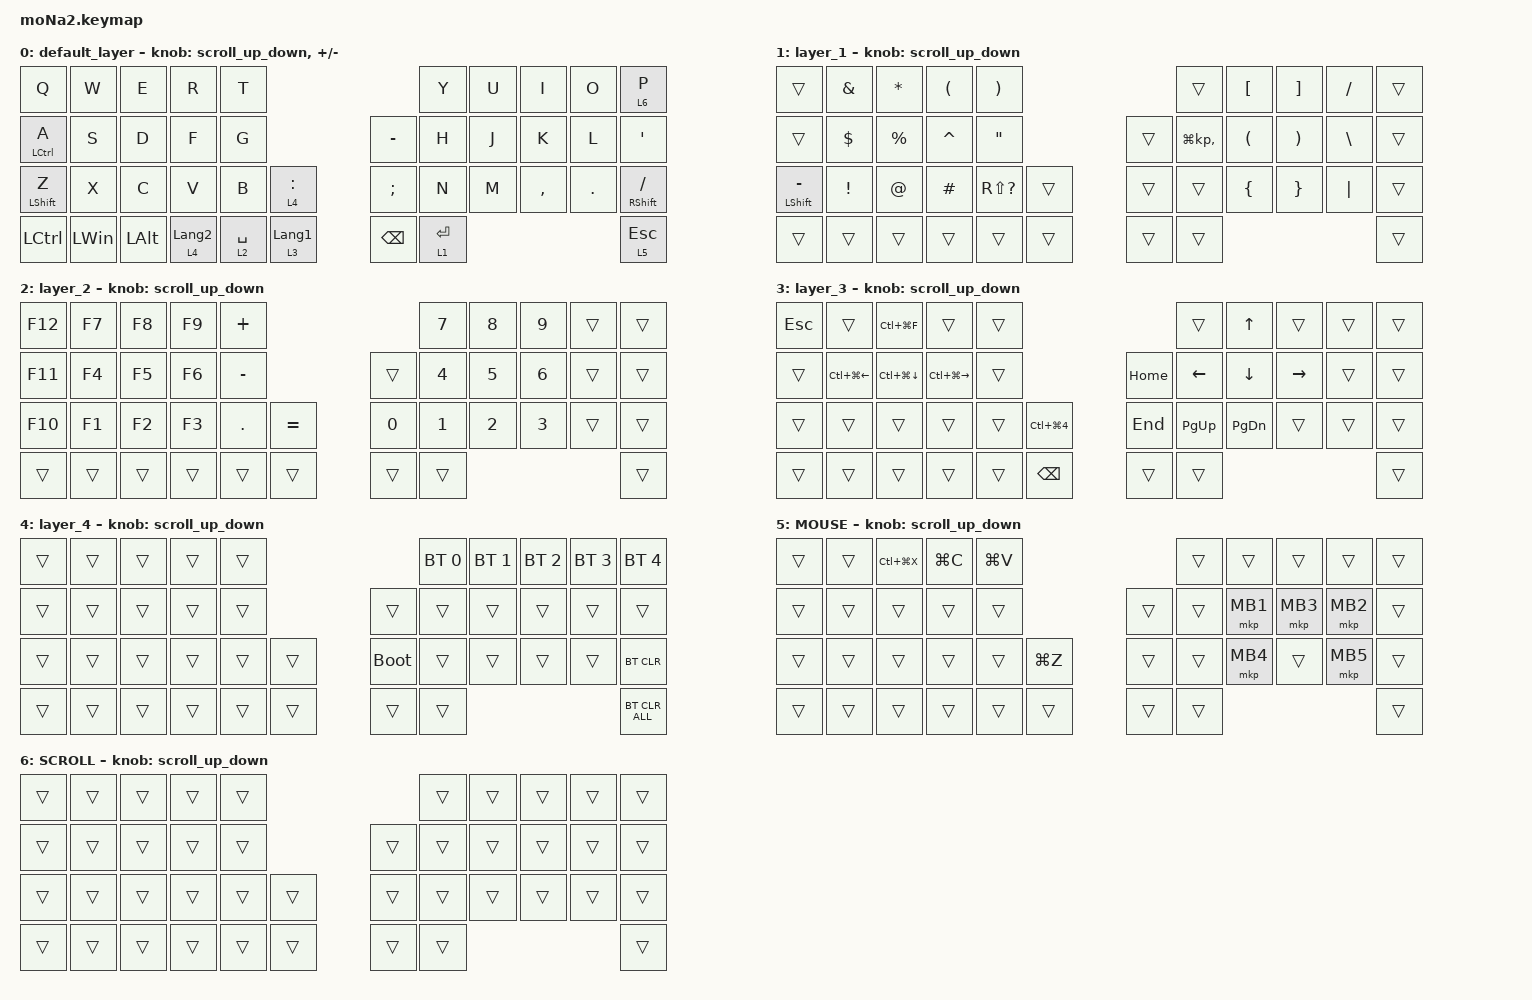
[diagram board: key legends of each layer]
#include <behaviors.dtsi>
#include <dt-bindings/zmk/bt.h>
#include <dt-bindings/zmk/keys.h>
#include <dt-bindings/zmk/pointing.h>

#define ZMK_POINTING_DEFAULT_SCRL_VAL 100
#define MOUSE 5
#define SCROLL 6

&mt {
    flavor = "balanced";
    quick-tap-ms = <0>;
};

/ {
    combos { compatible = "zmk,combos"; };

    macros {
        to_layer_0: to_layer_0 {
            compatible = "zmk,behavior-macro-one-param";
            #binding-cells = <1>;
            bindings = <&to 0 &macro_param_1to1 &kp MACRO_PLACEHOLDER>;
            label = "TO_LAYER_0";
        };
    };

    behaviors {
        lt_to_layer_0: lt_to_layer_0 {
            compatible = "zmk,behavior-hold-tap";
            label = "LAYER_TAP_TO_0";
            bindings = <&mo>, <&to_layer_0>;

            #binding-cells = <2>;
            tapping-term-ms = <200>;
        };

        scroll_up_down: behavior_sensor_rotate_mouse_wheel_up_down {
            compatible = "zmk,behavior-sensor-rotate";
            #sensor-binding-cells = <0>;
            bindings = <&msc SCRL_UP>, <&msc SCRL_DOWN>;

            tap-ms = <20>;
        };
    };

    keymap {
        compatible = "zmk,keymap";

        default_layer {
            bindings = <
&kp Q               &kp W         &kp E     &kp R             &kp T                                                      &kp Y        &kp U  &kp I      &kp O    &lt 6 P
&mt LEFT_CONTROL A  &kp S         &kp D     &kp F             &kp G                                       &kp MINUS      &kp H        &kp J  &kp K      &kp L    &kp SQT
&mt LEFT_SHIFT Z    &kp X         &kp C     &kp V             &kp B        &lt 4 COLON                    &kp SEMICOLON  &kp N        &kp M  &kp COMMA  &kp DOT  &mt RIGHT_SHIFT SLASH
&kp LCTRL           &kp LEFT_WIN  &kp LALT  &lt 4 LANGUAGE_2  &lt 2 SPACE  &lt_to_layer_0 3 LANGUAGE_1    &kp BACKSPACE  &lt 1 ENTER                             &lt 5 ESCAPE
            >;

            sensor-bindings = <&scroll_up_down>, <&inc_dec_kp PLUS MINUS>;
        };

        layer_1 {
            bindings = <
&trans                &kp AMPERSAND    &kp ASTERISK  &kp LEFT_PARENTHESIS  &kp RIGHT_PARENTHESIS                    &trans            &kp LEFT_BRACKET      &kp RIGHT_BRACKET      &kp SLASH      &trans
&trans                &kp DOLLAR       &kp PERCENT   &kp CARET             &kp DOUBLE_QUOTES                &trans  &kp LG(KP_COMMA)  &kp LEFT_PARENTHESIS  &kp RIGHT_PARENTHESIS  &kp BACKSLASH  &trans
&mt LEFT_SHIFT MINUS  &kp EXCLAMATION  &kp AT_SIGN   &kp HASH              &kp RS(QUESTION)       &trans    &trans  &trans            &kp LEFT_BRACE        &kp RIGHT_BRACE        &kp PIPE       &trans
&trans                &trans           &trans        &trans                &trans                 &trans    &trans  &trans                                                                        &trans
            >;

            sensor-bindings = <&scroll_up_down>;
        };

        layer_2 {
            bindings = <
&kp F12  &kp F7  &kp F8  &kp F9  &kp PLUS                               &kp N7        &kp N8        &kp N9        &trans  &trans
&kp F11  &kp F4  &kp F5  &kp F6  &kp MINUS                &trans        &kp NUMBER_4  &kp N5        &kp NUMBER_6  &trans  &trans
&kp F10  &kp F1  &kp F2  &kp F3  &kp PERIOD  &kp EQUAL    &kp NUMBER_0  &kp NUMBER_1  &kp NUMBER_2  &kp NUMBER_3  &trans  &trans
&trans   &trans  &trans  &trans  &trans      &trans       &trans        &trans                                            &trans
            >;

            sensor-bindings = <&scroll_up_down>;
        };

        layer_3 {
            bindings = <
&kp ESCAPE  &trans                  &kp LC(LG(F))           &trans                   &trans                              &trans          &kp UP_ARROW    &trans           &trans  &trans
&trans      &kp LC(LG(LEFT_ARROW))  &kp LC(LG(DOWN_ARROW))  &kp LC(LG(RIGHT_ARROW))  &trans                    &kp HOME  &kp LEFT_ARROW  &kp DOWN_ARROW  &kp RIGHT_ARROW  &trans  &trans
&trans      &trans                  &trans                  &trans                   &trans  &kp LC(LG(N4))    &kp END   &kp PG_UP       &kp PAGE_DOWN   &trans           &trans  &trans
&trans      &trans                  &trans                  &trans                   &trans  &kp BACKSPACE     &trans    &trans                                                   &trans
            >;

            sensor-bindings = <&scroll_up_down>;
        };

        layer_4 {
            bindings = <
&trans  &trans  &trans  &trans  &trans                         &bt BT_SEL 0  &bt BT_SEL 1  &bt BT_SEL 2  &bt BT_SEL 3  &bt BT_SEL 4
&trans  &trans  &trans  &trans  &trans            &trans       &trans        &trans        &trans        &trans        &trans
&trans  &trans  &trans  &trans  &trans  &trans    &bootloader  &trans        &trans        &trans        &trans        &bt BT_CLR
&trans  &trans  &trans  &trans  &trans  &trans    &trans       &trans                                                  &bt BT_CLR_ALL
            >;

            sensor-bindings = <&scroll_up_down>;
        };

        MOUSE {
            bindings = <
&trans  &trans  &kp LC(LG(X))  &kp LG(C)  &kp LG(V)                       &trans  &trans    &trans    &trans    &trans
&trans  &trans  &trans         &trans     &trans                  &trans  &trans  &mkp MB1  &mkp MB3  &mkp MB2  &trans
&trans  &trans  &trans         &trans     &trans     &kp LG(Z)    &trans  &trans  &mkp MB4  &trans    &mkp MB5  &trans
&trans  &trans  &trans         &trans     &trans     &trans       &trans  &trans                                &trans
            >;

            sensor-bindings = <&scroll_up_down>;
        };

        SCROLL {
            bindings = <
&trans  &trans  &trans  &trans  &trans                    &trans  &trans  &trans  &trans  &trans
&trans  &trans  &trans  &trans  &trans            &trans  &trans  &trans  &trans  &trans  &trans
&trans  &trans  &trans  &trans  &trans  &trans    &trans  &trans  &trans  &trans  &trans  &trans
&trans  &trans  &trans  &trans  &trans  &trans    &trans  &trans                          &trans
            >;

            sensor-bindings = <&scroll_up_down>;
        };
    };
};
